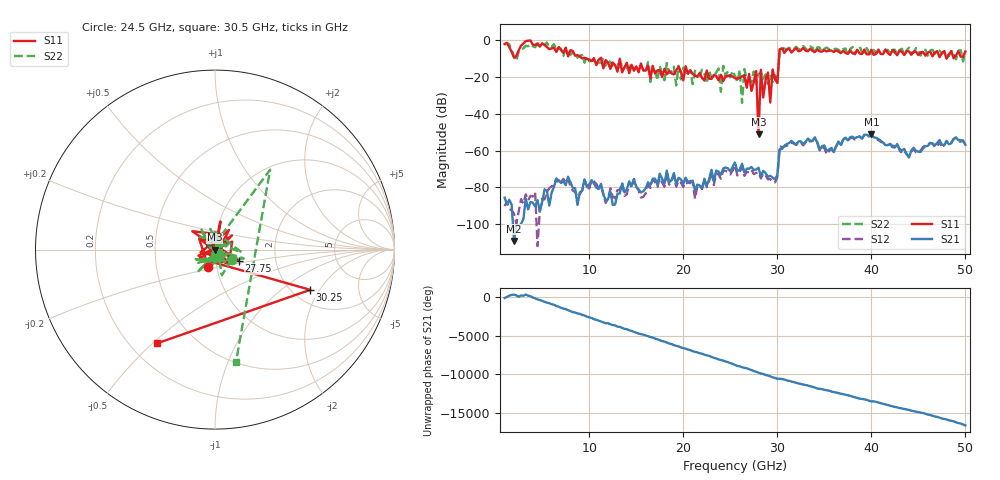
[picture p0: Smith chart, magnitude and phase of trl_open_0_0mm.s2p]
# GHz S RI R 50.0
!freq ReS11 ImS11 ReS21 ImS21 ReS12 ImS12 ReS22 ImS22
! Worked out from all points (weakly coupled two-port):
!   197 points, 1 GHz to 50 GHz, reference 50 ohm
!   highest |S21| = -50.89 dB at 40 GHz (marker M1); lowest = -109.2 dB at 2 GHz (marker M2)
!   lowest |S11| = -51.1 dB at 28 GHz (marker M3), VSWR 1.01, Z = 49.7 - j0.109 ohm
!   |S11| at or under -10 dB: 9.796 GHz to 10.44 GHz (643.4 MHz wide, 6.36 % of centre); 11.28 GHz to 13.25 GHz (1.97 GHz wide, 16.1 % of centre); 13.25 GHz to 30.18 GHz (16.93 GHz wide, 77.9 % of centre) (the widest 3 of 4)
!   |S22| runs from -34.0 to -1.1 dB; largest |S21 - S12| = 0.0052
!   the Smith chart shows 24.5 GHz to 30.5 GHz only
!   S11 on the Smith chart (normalised r, x): 24.5 GHz: 0.91, -0.18; 27.75 GHz: 1.30, -0.16; 30.25 GHz: 2.47, -1.66; 30.5 GHz: 0.31, -0.52
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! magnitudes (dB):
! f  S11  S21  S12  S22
! 1 GHz  -1.9  -85.6  -90.2  -2.2
! 2 GHz  -9.3  -109.2  -94.2  -8.7
! 9.25 GHz  -9.8  -81.6  -81.6  -7.9
! 17.5 GHz  -16.1  -72.5  -74.9  -13.9
! 24.5 GHz  -19.5  -69.1  -70.9  -19.3
! 25.5 GHz  -20.5  -66.4  -68.1  -19.3
! 26 GHz  -20.2  -70.3  -71.5  -16.0
! 26.25 GHz  -19.5  -67.1  -68.9  -34.0
! 26.5 GHz  -19.1  -71.9  -73.7  -15.5
! 27.75 GHz  -16.6  -70.3  -72.1  -23.7
! 28 GHz  -51.1  -69.3  -71.7  -18.4
! 28.25 GHz  -15.9  -74.1  -75.1  -17.2
! 29 GHz  -17.4  -74.2  -75.6  -23.7
! 29.25 GHz  -33.8  -73.7  -75.5  -18.5
! 29.5 GHz  -15.8  -74.7  -76.9  -22.6
! 30 GHz  -23.0  -73.2  -74.7  -24.0
! 30.25 GHz  -4.8  -59.2  -57.6  -5.3
! 30.5 GHz  -4.3  -59.1  -58.0  -3.9
! 33.75 GHz  -5.7  -54.5  -54.7  -4.0
! 40 GHz  -5.1  -50.9  -51.0  -7.2
! 42 GHz  -7.9  -56.4  -56.3  -6.9
! 50 GHz  -6.0  -56.8  -56.9  -5.6
